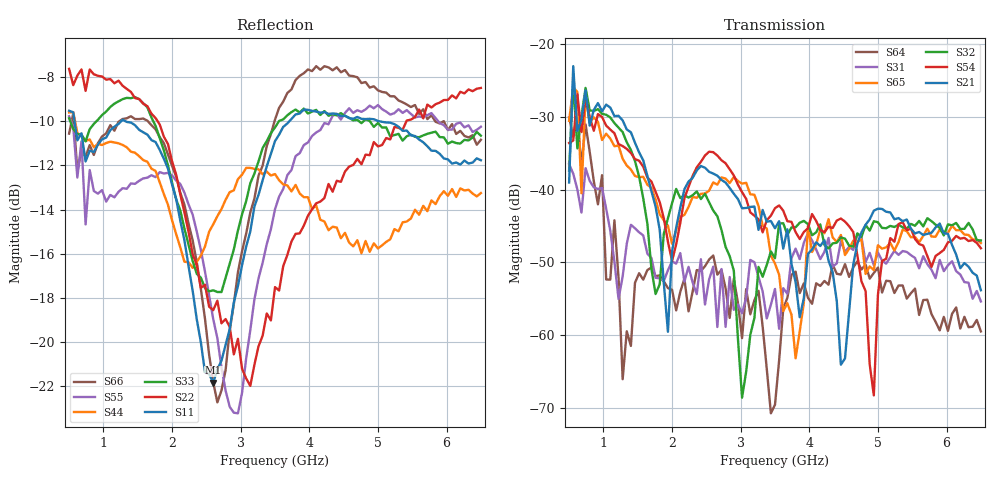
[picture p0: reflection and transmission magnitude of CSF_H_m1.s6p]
!Keysight Technologies,M9804A,MY58100912,A.14.10.03
!Date: Thursday, April 27, 2023 10:28:33
!Correction: S11(C  6-Port  )
!S12(C  6-Port  )
!S13(C  6-Port  )
!S14(C  6-Port  )
!S15(C  6-Port  )
!S16(C  6-Port  )
!S21(C  6-Port  )
!S22(C  6-Port  )
!S23(C  6-Port  )
!S24(C  6-Port  )
!S25(C  6-Port  )
!S26(C  6-Port  )
!S31(C  6-Port  )
!S32(C  6-Port  )
!S33(C  6-Port  )
!S34(C  6-Port  )
!S35(C  6-Port  )
!S36(C  6-Port  )
!S41(C  6-Port  )
!S42(C  6-Port  )
!S43(C  6-Port  )
!S44(C  6-Port  )
!S45(C  6-Port  )
!S46(C  6-Port  )
!S51(C  6-Port  )
!S52(C  6-Port  )
!S53(C  6-Port  )
!S54(C  6-Port  )
!S55(C  6-Port  )
!S56(C  6-Port  )
!S61(C  6-Port  )
!S62(C  6-Port  )
!S63(C  6-Port  )
!S64(C  6-Port  )
!S65(C  6-Port  )
!S66(C  6-Port  )
!S6P File: Measurement: :
# Hz S  RI  R 50
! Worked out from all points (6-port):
!   101 points, 500 MHz to 6.5 GHz, reference 50 ohm
!   strongest paths, dB at 500 MHz, 2 GHz, 3.5 GHz, 5 GHz, 6.5 GHz:
!     S21: -39.0, -48.5, -45.3, -42.6, -53.9
!     S54: -33.6, -49.8, -42.6, -54.5, -48.1
!     S32: -37.4, -41.9, -49.4, -44.5, -47.0
!     S65: -30.5, -47.5, -50.2, -47.7, -47.4
!     S31: -36.5, -49.9, -53.7, -48.7, -55.4
!     S64: -30.1, -53.8, -69.6, -50.7, -59.5
!   lowest |S11| = -21.8 dB at 2.6 GHz (marker M1), VSWR 1.18, Z = 42.8 + j1.99 ohm
!   |S11| at or under -10 dB: 578.7 MHz to 1.261 GHz (682.1 MHz wide, 74.2 % of centre); 1.317 GHz to 3.712 GHz (2.395 GHz wide, 95.2 % of centre); 5.008 GHz to end of sweep
